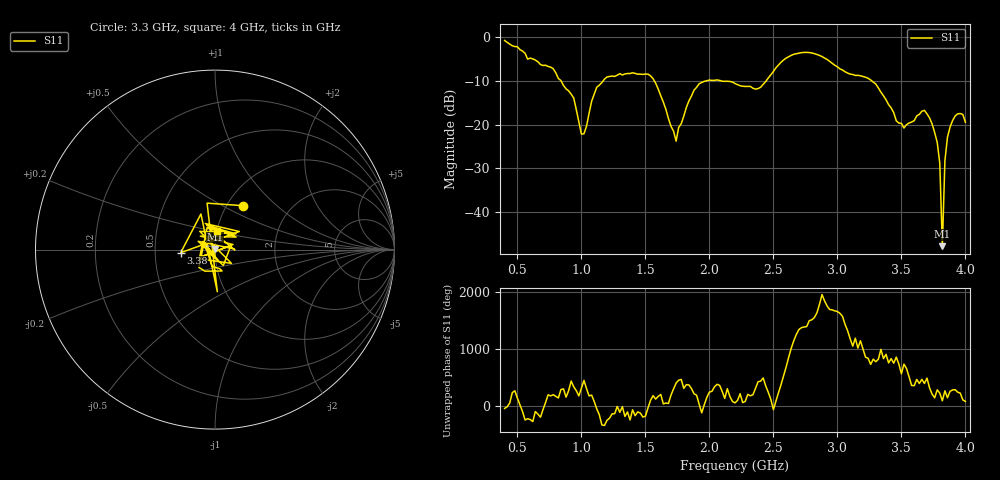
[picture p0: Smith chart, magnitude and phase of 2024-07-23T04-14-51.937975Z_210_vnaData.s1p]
!Created with skrf (http://scikit-rf.org).
# Hz S RI R 50.0
!freq ReS11 ImS11
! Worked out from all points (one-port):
!   181 points, 400 MHz to 4 GHz, reference 50 ohm
!   lowest |S11| = -47.8 dB at 3.82 GHz (marker M1), VSWR 1.01, Z = 50 + j0.407 ohm
!   |S11| at or under -10 dB: 1.57 GHz to 1.976 GHz (406.8 MHz wide, 22.9 % of centre); 2.09 GHz to 2.444 GHz (353.2 MHz wide, 15.6 % of centre); 3.268 GHz to end of sweep (the widest 3 of 4)
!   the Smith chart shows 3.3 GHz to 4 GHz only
!   S11 on the Smith chart (normalised r, x): 3.3 GHz: 1.19, +0.63; 3.38 GHz: 0.68, -0.02; 4 GHz: 1.00, +0.21
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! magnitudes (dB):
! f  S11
! 400 MHz  -0.8
! 780 MHz  -7.2
! 860 MHz  -11.1
! 940 MHz  -13.9
! 1 GHz  -22.2
! 1.02 GHz  -22.1
! 1.12 GHz  -11.5
! 1.3 GHz  -8.4
! 1.54 GHz  -8.9
! 1.74 GHz  -23.8
! 1.76 GHz  -20.6
! 1.92 GHz  -10.7
! 2.2 GHz  -10.6
! 2.38 GHz  -11.8
! 2.66 GHz  -3.9
! 3.1 GHz  -8.5
! 3.3 GHz  -10.7
! 3.38 GHz  -14.3
! 3.46 GHz  -19.1
! 3.56 GHz  -19.6
! 3.68 GHz  -16.7
! 3.76 GHz  -21.8
! 3.8 GHz  -28.9
! 3.82 GHz  -47.8
! 3.84 GHz  -28.2
! 3.86 GHz  -22.9
! 3.94 GHz  -17.5
! 4 GHz  -19.5
